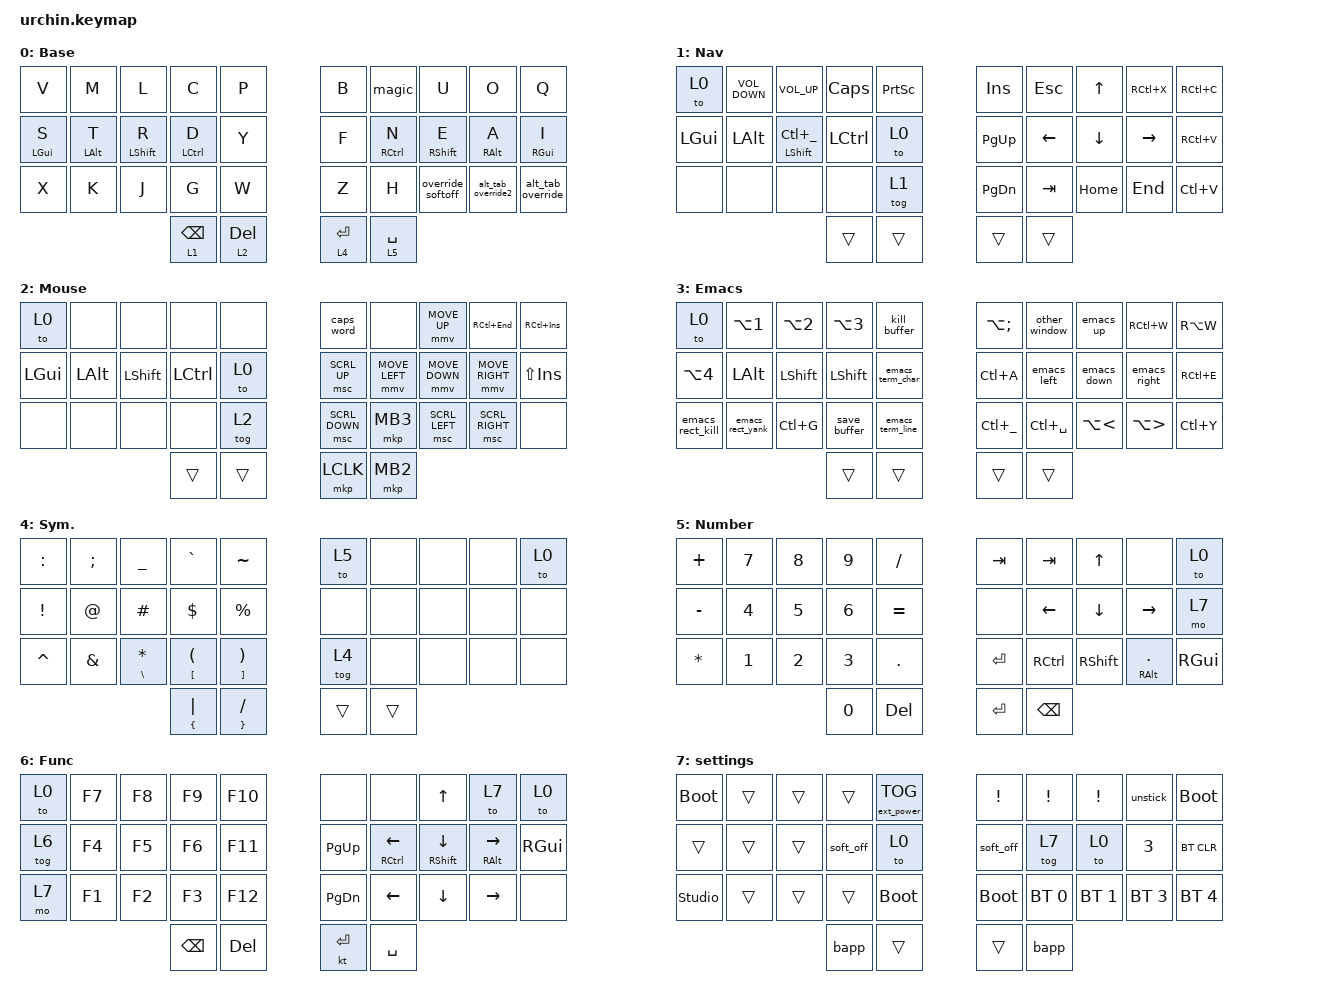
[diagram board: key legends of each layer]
/*
 * Copyright (c) 2020 duckyb
 *
 * SPDX-License-Identifier: MIT
 */

#define ZMK_POINTING_DEFAULT_MOVE_VAL 1200  // default: 600
#define ZMK_POINTING_DEFAULT_SCRL_VAL 20    // default: 10

#include <behaviors/battery_percentage_printer.dtsi>
#include <behaviors.dtsi>
#include <dt-bindings/zmk/bt.h>
#include <dt-bindings/zmk/ext_power.h>
#include <dt-bindings/zmk/keys.h>
#include <dt-bindings/zmk/pointing.h>

// Layer definitions

#define BASE 0
#define NAV 1
#define MOUSE 2
#define EMACS 3
#define SYM 4
#define NUMB 5
#define FUNC 6

// -----------------

&sk {
    // don't release mods on other mods presses

    ignore-modifiers;
};

/ {
    behaviors {
        // Enables holding the first mod-tap key
        // by performing a tap-release-hold sequence.
        // To use it: "&qt KEYCODE1 KEYCODE2"

        qt: quick_tap {
            compatible = "zmk,behavior-hold-tap";
            label = "QUICK_TAP";
            #binding-cells = <2>;
            flavor = "hold-preferred";
            tapping-term-ms = <200>;
            quick-tap-ms = <200>;
            bindings = <&kp>, <&kp>;
        };

        hml: hml {
            compatible = "zmk,behavior-hold-tap";
            label = "HML";
            bindings = <&kp>, <&kp>;

            #binding-cells = <2>;
            tapping-term-ms = <200>;
            quick-tap-ms = <200>;
            require-prior-idle-ms = <100>;
            flavor = "balanced";
            hold-trigger-on-release;
            hold-trigger-key-positions = <5 6 7 8 9 15 16 17 18 19 25 26 27 28 29 32 33>;
        };

        hmr: hmr {
            compatible = "zmk,behavior-hold-tap";
            label = "HMR";
            bindings = <&kp>, <&kp>;

            #binding-cells = <2>;
            tapping-term-ms = <200>;
            quick-tap-ms = <200>;
            require-prior-idle-ms = <100>;
            flavor = "balanced";
            hold-trigger-on-release;
            hold-trigger-key-positions = <0 1 2 3 4 10 11 12 13 14 20 21 22 23 24 31 30>;
        };

        alt_tab_override: alt_tab_override {
            compatible = "zmk,behavior-mod-morph";
            label = "ALT_TAB_OVERRIDE";
            bindings = <&kp FSLH>, <&kp TAB>;

            #binding-cells = <0>;
            mods = <(MOD_LALT)>;
            keep-mods = <(MOD_LALT)>;
        };

        tap_dance: tap_dance {
            compatible = "zmk,behavior-hold-tap";
            label = "TAP_DANCE";
            bindings = <&kp>, <&kp>;

            #binding-cells = <2>;
            tapping-term-ms = <165>;
        };

        lt_repeat: lt_repeat {
            compatible = "zmk,behavior-hold-tap";
            label = "LT_REPEAT";
            bindings = <&mo>, <&kp>;

            #binding-cells = <2>;
            tapping-term-ms = <200>;
            quick-tap-ms = <200>;
            require-prior-idle-ms = <100>;
            flavor = "tap-preferred";
        };

        alt_tab_override2: alt_tab_override2 {
            compatible = "zmk,behavior-mod-morph";
            label = "ALT_TAB_OVERRIDE2";
            bindings = <&kp DOT>, <&kp TAB>;

            #binding-cells = <0>;
            mods = <(MOD_LALT)>;
            keep-mods = <(MOD_LALT)>;
        };

        to_tap: to_tap {
            compatible = "zmk,behavior-hold-tap";
            label = "TO_TAP";
            bindings = <&to>, <&kp>;

            #binding-cells = <2>;
            tapping-term-ms = <165>;
            quick-tap-ms = <165>;
            require-prior-idle-ms = <100>;
            flavor = "tap-preferred";
        };

        emacs_up: emacs_up {
            compatible = "zmk,behavior-mod-morph";
            label = "EMACS_UP";
            bindings = <&kp LC(P)>, <&kp LA(V)>;

            #binding-cells = <0>;
            mods = <(MOD_LSFT)>;
        };

        emacs_down: emacs_down {
            compatible = "zmk,behavior-mod-morph";
            label = "EMACS_DOWN";
            bindings = <&kp LC(N)>, <&kp LC(V)>;

            #binding-cells = <0>;
            mods = <(MOD_LSFT)>;
        };

        emacs_left: emacs_left {
            compatible = "zmk,behavior-mod-morph";
            label = "EMACS_LEFT";
            bindings = <&kp LEFT_ARROW>, <&kp RA(B)>;

            #binding-cells = <0>;
            mods = <(MOD_LSFT)>;
        };

        emacs_right: emacs_right {
            compatible = "zmk,behavior-mod-morph";
            label = "EMACS_RIGHT";
            bindings = <&kp RIGHT_ARROW>, <&kp RA(F)>;

            #binding-cells = <0>;
            mods = <(MOD_LSFT)>;
        };

        magic: magic {
            compatible = "zmk,behavior-adaptive-key";
            #binding-cells = <0>;
            bindings = <&kp SINGLE_QUOTE>;

            akt_ah {
                trigger-keys = <A>;
                max-prior-idle-ms = <1000>;
                bindings = <&kp O>;
            };

            akt_ch {
                trigger-keys = <C>;
                max-prior-idle-ms = <1000>;
                bindings = <&kp Y>;
            };

            akt_dh {
                trigger-keys = <D>;
                max-prior-idle-ms = <1000>;
                bindings = <&kp Y>;
            };

            akt_eh {
                trigger-keys = <E>;
                max-prior-idle-ms = <1000>;
                bindings = <&kp U>;
            };

            akt_gh {
                trigger-keys = <G>;
                max-prior-idle-ms = <1000>;
                bindings = <&kp Y>;
            };

            akt_di {
                trigger-keys = <I>;
                max-prior-idle-ms = <1000>;
                bindings = <&kp O &kp N>;
            };

            akt_dl {
                trigger-keys = <L>;
                max-prior-idle-ms = <1000>;
                bindings = <&kp K>;
            };

            akt_dm {
                trigger-keys = <M>;
                max-prior-idle-ms = <1000>;
                bindings = <&kp E &kp N &kp T>;
            };

            akt_dn {
                trigger-keys = <N>;
                max-prior-idle-ms = <1000>;
                bindings = <&kp I &kp O &kp N>;
            };

            akt_do {
                trigger-keys = <O>;
                max-prior-idle-ms = <1000>;
                bindings = <&kp A>;
            };

            akt_dp {
                trigger-keys = <P>;
                max-prior-idle-ms = <1000>;
                bindings = <&kp Y>;
            };

            akt_dq {
                trigger-keys = <Q>;
                max-prior-idle-ms = <1000>;
                bindings = <&kp U &kp E &kp N>;
            };

            akt_rh {
                trigger-keys = <R>;
                max-prior-idle-ms = <1000>;
                bindings = <&kp L>;
            };

            akt_ds {
                trigger-keys = <S>;
                max-prior-idle-ms = <1000>;
                bindings = <&kp K>;
            };

            akt_dt {
                trigger-keys = <T>;
                max-prior-idle-ms = <1000>;
                bindings = <&kp M &kp E &kp N &kp T>;
            };

            akt_du {
                trigger-keys = <U>;
                max-prior-idle-ms = <1000>;
                bindings = <&kp E>;
            };

            akt_dy {
                trigger-keys = <Y>;
                max-prior-idle-ms = <1000>;
                bindings = <&kp P>;
            };

            akt_dsp {
                trigger-keys = <SPACE>;
                max-prior-idle-ms = <1000>;
                bindings = <&kp T &kp H &kp E>;
            };

            akt_ddot {
                trigger-keys = <DOT>;
                max-prior-idle-ms = <1000>;
                bindings = <&kp DOT &kp SLASH>;
            };
        };

        override_softoff: override_softoff {
            compatible = "zmk,behavior-mod-morph";
            label = "OVERRIDE_SOFTOFF";
            bindings = <&kp COMMA>, <&soft_off>;

            #binding-cells = <0>;
            mods = <(MOD_RGUI)>;
        };
    };

    macros {
        // sometimes my device thinks a modifier is being held down
        // pressing all modifiers fixes it.

        unstick: unstick {
            label = "ZM_unstick";
            compatible = "zmk,behavior-macro";
            #binding-cells = <0>;
            bindings = <&kp LSHIFT &kp RSHIFT &kp LCTRL &kp RCTRL &kp LALT &kp RALT &kp LGUI &kp RGUI>;
        };

        other_window: other_window {
            compatible = "zmk,behavior-macro";
            #binding-cells = <0>;
            bindings = <&kp LC(X) &kp O>;
            label = "OTHER_WINDOW";
        };

        kill_buffer: kill_buffer {
            compatible = "zmk,behavior-macro";
            #binding-cells = <0>;
            bindings = <&kp LC(X) &kp K>;
            label = "KILL_BUFFER";
        };

        save_buffer: save_buffer {
            compatible = "zmk,behavior-macro";
            #binding-cells = <0>;
            bindings = <&kp LC(X) &kp LC(S)>;
            label = "SAVE_BUFFER";
        };

        emacs_rect_kill: emacs_rect_kill {
            compatible = "zmk,behavior-macro";
            #binding-cells = <0>;
            bindings = <&kp LC(X) &kp R &kp K>;
            label = "EMACS_RECT_KILL";
        };

        emacs_rect_yank: emacs_rect_yank {
            compatible = "zmk,behavior-macro";
            #binding-cells = <0>;
            bindings = <&kp LC(X) &kp R &kp Y>;
            label = "EMACS_RECT_YANK";
        };

        emacs_term_char: emacs_term_char {
            compatible = "zmk,behavior-macro";
            #binding-cells = <0>;
            bindings = <&kp LC(C) &kp LC(K)>;
            label = "EMACS_TERM_CHAR";
        };

        emacs_term_line: emacs_term_line {
            compatible = "zmk,behavior-macro";
            #binding-cells = <0>;
            bindings = <&kp LC(C) &kp LC(J)>;
            label = "EMACS_TERM_LINE";
        };
    };

    combos {
        compatible = "zmk,combos";

        // both right thumb keys
        // internal-left & external-right thumb keys
        // both left thumb keys
        // left index & middle fingers (home-row)
        // hold control & space for Adobe workflow

        combo_caps {
            bindings = <&kp CAPSLOCK>;
            key-positions = <26 27>;
            layers = <0>;
            timeout-ms = <50>;
            require-prior-idle-ms = <1>;
        };

        alt_f4 {
            bindings = <&kp LA(F4)>;
            key-positions = <9 29>;
        };

        to_emacs {
            bindings = <&tog 3>;
            key-positions = <23 30>;
            layers = <0>;
            timeout-ms = <50>;
            require-prior-idle-ms = <1>;
        };

        to_func {
            bindings = <&tog 6>;
            key-positions = <31 32>;
            layers = <0>;
            timeout-ms = <50>;
            require-prior-idle-ms = <1>;
        };

        momentary_functional_layer {
            bindings = <&mo 6>;
            key-positions = <32 33>;
        };

        Momentary_Emacs_layer {
            bindings = <&mo 3>;
            key-positions = <31 30>;
        };

        to_num {
            bindings = <&to 5>;
            key-positions = <6 33>;
        };

        bootloader {
            bindings = <&bootloader>;
            key-positions = <29 0 1>;
        };

        alt-x {
            bindings = <&kp RA(X)>;
            key-positions = <32 21>;
        };

        control-x {
            bindings = <&kp RC(X)>;
            key-positions = <33 21>;
        };

        bootloader2 {
            bindings = <&bootloader>;
            key-positions = <5 6 29>;
        };

        soft_off_combo {
            bindings = <&soft_off>;
            key-positions = <14 15 16>;
        };

        to_number_layer {
            bindings = <&to 5>;
            key-positions = <33 30>;
        };

        Emacs_undo {
            bindings = <&kp LC(UNDER)>;
            key-positions = <12 30>;
        };

        Alt_F2 {
            bindings = <&kp RA(F2)>;
            key-positions = <18 33 22>;
        };

        to {
            bindings = <&tog 6>;
            key-positions = <6 7>;
        };
    };

    keymap {
        compatible = "zmk,keymap";

        // Base alpha layer

        default_layer {
            label = "Base";
            bindings = <
&kp V        &kp M        &kp L         &kp C              &kp P             &kp B               &magic              &kp U              &kp O               &kp Q
&hml LGUI S  &hml LALT T  &hml LSHFT R  &hml LCTRL D       &kp Y             &kp F               &hmr RCTRL N        &hmr RSHFT E       &hmr RIGHT_ALT A    &hmr RGUI I
&kp X        &kp K        &kp J         &kp G              &kp W             &kp Z               &kp H               &override_softoff  &alt_tab_override2  &alt_tab_override
                                        &lt_repeat 1 BSPC  &lt_repeat 2 DEL  &lt_repeat 4 ENTER  &lt_repeat 5 SPACE
            >;
        };

        // Numbers and high frequency symbols

        nav_layer {
            label = "Nav";
            bindings = <
&to 0         &kp C_VOLUME_DOWN  &kp C_VOLUME_UP       &kp CAPSLOCK      &kp PRINTSCREEN  &kp INSERT     &kp ESC         &kp UP_ARROW    &kp RC(X)        &kp RC(C)
&kp LEFT_GUI  &kp LEFT_ALT       &hml LSHFT LC(UNDER)  &kp LEFT_CONTROL  &to 0            &kp PAGE_UP    &kp LEFT_ARROW  &kp DOWN_ARROW  &kp RIGHT_ARROW  &kp RC(V)
&none         &none              &none                 &none             &tog 1           &kp PAGE_DOWN  &kp TAB         &kp HOME        &kp END          &kp LC(V)
                                                       &trans            &trans           &trans         &trans
            >;
        };

        // Mouse

        mouse_layer {
            label = "Mouse";
            bindings = <
&to 0         &none         &none           &none             &none   &caps_word      &none           &mmv MOVE_UP    &kp RC(END)      &kp RC(INSERT)
&kp LEFT_GUI  &kp LEFT_ALT  &kp LEFT_SHIFT  &kp LEFT_CONTROL  &to 0   &msc SCRL_UP    &mmv MOVE_LEFT  &mmv MOVE_DOWN  &mmv MOVE_RIGHT  &kp LS(INSERT)
&none         &none         &none           &none             &tog 2  &msc SCRL_DOWN  &mkp MB3        &msc SCRL_LEFT  &msc SCRL_RIGHT  &none
                                            &trans            &trans  &mkp LCLK       &mkp MB2
            >;
        };

        // Emacs navigation aid

        emacs_layer {
            label = "Emacs";
            bindings = <
&to 0             &kp LA(NUMBER_1)  &kp LA(NUMBER_2)  &kp LA(NUMBER_3)  &kill_buffer      &kp LA(SEMI)        &other_window  &emacs_up          &kp RC(W)             &kp RA(W)
&kp LA(NUMBER_4)  &kp LEFT_ALT      &kp LEFT_SHIFT    &kp LEFT_SHIFT    &emacs_term_char  &kp LC(A)           &emacs_left    &emacs_down        &emacs_right          &kp RC(E)
&emacs_rect_kill  &emacs_rect_yank  &kp LC(G)         &save_buffer      &emacs_term_line  &kp LC(UNDERSCORE)  &kp LC(SPACE)  &kp LA(LESS_THAN)  &kp LA(GREATER_THAN)  &kp LC(Y)
                                                      &trans            &trans            &trans              &trans
            >;
        };

        // Symbols

        symbols_layer {
            label = "Sym.";
            bindings = <
&kp COLON        &kp SEMICOLON  &kp UNDERSCORE                 &kp GRAVE                                 &kp TILDE                                   &to 5   &none   &none  &none  &to 0
&kp EXCLAMATION  &kp AT_SIGN    &kp HASH                       &kp DOLLAR                                &kp PERCENT                                 &none   &none   &none  &none  &none
&kp CARET        &kp AMPERSAND  &tap_dance BACKSLASH ASTERISK  &tap_dance LEFT_BRACKET LEFT_PARENTHESIS  &tap_dance RIGHT_BRACKET RIGHT_PARENTHESIS  &tog 4  &none   &none  &none  &none
                                                               &tap_dance LEFT_BRACE PIPE                &tap_dance RIGHT_BRACE SLASH                &trans  &trans
            >;
        };

        // Numbers

        number_layer {
            label = "Number";
            bindings = <
&kp PLUS      &kp NUMBER_7  &kp NUMBER_8  &kp NUMBER_9  &kp SLASH   &kp TAB    &kp TAB            &kp UP_ARROW     &none                  &to 0
&kp MINUS     &kp NUMBER_4  &kp NUMBER_5  &kp NUMBER_6  &kp EQUAL   &none      &kp LEFT_ARROW     &kp DOWN_ARROW   &kp RIGHT_ARROW        &mo 7
&kp ASTERISK  &kp NUMBER_1  &kp NUMBER_2  &kp NUMBER_3  &kp DOT     &kp ENTER  &kp RIGHT_CONTROL  &kp RIGHT_SHIFT  &hmr RIGHT_ALT PERIOD  &kp RIGHT_GUI
                                          &kp NUMBER_0  &kp DELETE  &kp ENTER  &kp BACKSPACE
            >;
        };

        // Function layer

        funct_layer {
            label = "Func";
            bindings = <
&to 0   &kp F7  &kp F8  &kp F9         &kp F10     &none          &none                          &kp UP                       &to 7                       &to 0
&tog 6  &kp F4  &kp F5  &kp F6         &kp F11     &kp PAGE_UP    &hmr RIGHT_CONTROL LEFT_ARROW  &hmr RIGHT_SHIFT DOWN_ARROW  &hmr RIGHT_ALT RIGHT_ARROW  &kp RIGHT_GUI
&mo 7   &kp F1  &kp F2  &kp F3         &kp F12     &kp PAGE_DOWN  &kp LEFT_ARROW                 &kp DOWN_ARROW               &kp RIGHT_ARROW             &none
                        &kp BACKSPACE  &kp DELETE  &kt ENTER      &kp SPACE
            >;
        };

        settings {
            bindings = <
&bootloader     &trans  &trans  &trans     &ext_power EP_TOG  &kp EXCLAMATION  &kp EXCL      &kp EXCLAMATION  &unstick      &bootloader
&trans          &trans  &trans  &soft_off  &to 0              &soft_off        &tog 7        &to 0            &kp NUMBER_3  &bt BT_CLR
&studio_unlock  &trans  &trans  &trans     &bootloader        &bootloader      &bt BT_SEL 0  &bt BT_SEL 1     &bt BT_SEL 3  &bt BT_SEL 4
                                &bapp      &trans             &trans           &bapp
            >;
        };
    };

    conditional_layers { compatible = "zmk,conditional-layers"; };
};
